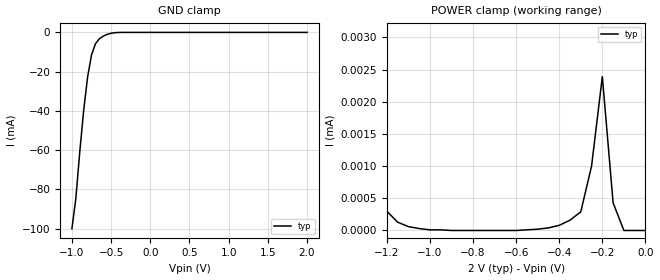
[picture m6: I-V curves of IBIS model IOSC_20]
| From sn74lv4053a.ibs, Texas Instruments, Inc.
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[Model]   IOSC_20
Model_type  Terminator
| variable   typ   min   max
C_comp   7.7pf   NA   NA
[Temperature Range]   27   NA   NA
[Voltage range]   2.0   NA   NA
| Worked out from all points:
|   GND clamp passes 1 mA (typ) near -0.55 V on its own axis
|   POWER clamp passes 1 mA (typ) near -1.92 V on its own axis
[GND Clamp]
| IOSC_20
|   Voltage   I(typ)   I(min)   I(max)
-1V       -100mA     NA         NA
-950mV    -84.64mA   NA         NA
-900mV    -60.99mA   NA         NA
-850mV    -39.8mA    NA         NA
-800mV    -22.79mA   NA         NA
-750mV    -11.53mA   NA         NA
-700mV    -5.815mA   NA         NA
-650mV    -3.272mA   NA         NA
-550mV    -999.9uA   NA         NA
-400mV    -34uA      NA         NA
2V        0A         NA         NA
[POWER Clamp]
| IOS_20
|   Voltage   I(typ)   I(min)   I(max)
-2V       1.446mA    NA         NA
-1.35V    3.32uA     NA         NA
-1.3V     1.51uA     NA         NA
-1.25V    680nA      NA         NA
-1.15V    130nA      NA         NA
-1V       10nA       NA         NA
-300mV    290nA      NA         NA
-250mV    1uA        NA         NA
-200mV    2.39uA     NA         NA
-150mV    430nA      NA         NA
-100mV    0A         NA         NA
0V        0A         NA         NA
